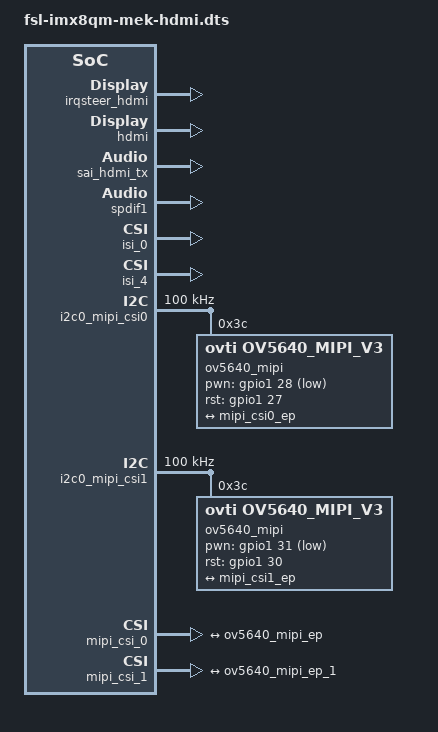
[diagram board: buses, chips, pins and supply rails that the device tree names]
/*
 * Copyright 2017-2018 NXP
 *
 * This program is free software; you can redistribute it and/or
 * modify it under the terms of the GNU General Public License
 * as published by the Free Software Foundation; either version 2
 * of the License, or (at your option) any later version.
 *
 * This program is distributed in the hope that it will be useful,
 * but WITHOUT ANY WARRANTY; without even the implied warranty of
 * MERCHANTABILITY or FITNESS FOR A PARTICULAR PURPOSE.  See the
 * GNU General Public License for more details.
 */
/*
 * HDMI only dts, disable ldb display.
 */

#include "fsl-imx8qm-mek-rpmsg.dts"

/ {
	sound-hdmi-tx {
		compatible = "fsl,imx-audio-cdnhdmi";
		model = "imx-audio-hdmi-tx";
		audio-cpu = <&sai_hdmi_tx>;
		protocol = <1>;
		hdmi-out;
	};

	sound-amix-sai {
		status = "disabled";
	};

	sound-hdmi-arc {
		compatible = "fsl,imx-audio-spdif";
		model = "imx-hdmi-arc";
		spdif-controller = <&spdif1>;
		spdif-in;
		spdif-out;
	};
};

&ldb1_phy {
	status = "disabled";
};

&ldb1 {
	status = "disabled";
};

&i2c1_lvds0 {
	status = "disabled";
};

&irqsteer_hdmi {
	status = "okay";
};

&hdmi {
	compatible = "fsl,imx8qm-hdmi";
	assigned-clocks = <&clk IMX8QM_HDMI_PXL_SEL>,
					<&clk IMX8QM_HDMI_PXL_LINK_SEL>,
					<&clk IMX8QM_HDMI_PXL_MUX_SEL>;
	assigned-clock-parents = <&clk IMX8QM_HDMI_AV_PLL_CLK>,
							<&clk IMX8QM_HDMI_AV_PLL_CLK>,
							<&clk IMX8QM_HDMI_AV_PLL_CLK>;
	fsl,cec;
	status = "okay";
};

&sai_hdmi_tx {
	assigned-clocks =<&clk IMX8QM_ACM_HDMI_TX_SAI0_MCLK_SEL>,
			<&clk IMX8QM_AUD_PLL0_DIV>,
			<&clk IMX8QM_AUD_ACM_AUD_PLL_CLK0_DIV>,
			<&clk IMX8QM_AUD_ACM_AUD_REC_CLK0_DIV>,
			<&clk IMX8QM_AUD_SAI_HDMITX0_MCLK>;
	assigned-clock-parents = <&clk IMX8QM_AUD_ACM_AUD_PLL_CLK0_CLK>;
	assigned-clock-rates = <0>, <786432000>, <49152000>, <12288000>, <49152000>;
	fsl,sai-asynchronous;
	status = "okay";
};

&spdif1 {
	assigned-clocks =<&clk IMX8QM_AUD_PLL0_DIV>,
			<&clk IMX8QM_AUD_ACM_AUD_PLL_CLK0_DIV>,
			<&clk IMX8QM_AUD_ACM_AUD_REC_CLK0_DIV>;
	assigned-clock-rates = <786432000>, <49152000>, <12288000>;
	status = "okay";
};

&iomuxc {
	imx8qm-mek {
		pinctrl_mipi_csi0: mipicsi0grp{
			fsl,pins = <
				SC_P_MIPI_CSI0_MCLK_OUT_MIPI_CSI0_ACM_MCLK_OUT	0xC0000041
				SC_P_MIPI_CSI0_GPIO0_00_LSIO_GPIO1_IO27			0x00000021
				SC_P_MIPI_CSI0_GPIO0_01_LSIO_GPIO1_IO28			0x00000021
			>;
		};

		pinctrl_mipi_csi1: mipicsi1grp{
			fsl,pins = <
				SC_P_MIPI_CSI1_MCLK_OUT_MIPI_CSI1_ACM_MCLK_OUT	0xC0000041
				SC_P_MIPI_CSI1_GPIO0_00_LSIO_GPIO1_IO30		0x00000021
				SC_P_MIPI_CSI1_GPIO0_01_LSIO_GPIO1_IO31		0x00000021
			>;
		};
	};
};

&isi_0 {
	status = "okay";
};

&isi_4 {
	status = "okay";
};

&isi_1 {
	status = "disabled";
};

&isi_2 {
	status = "disabled";
};

&isi_3 {
	status = "disabled";
};

&isi_5 {
	status = "disabled";
};

&isi_6 {
	status = "disabled";
};

&isi_7 {
	status = "disabled";
};

&i2c0_mipi_csi0 {
	clock-frequency = <100000>;
	status = "okay";

	ov5640_mipi: ov5640_mipi@3c {
		compatible = "ovti,ov5640_mipi_v3";
		reg = <0x3c>;
		pinctrl-names = "default";
		pinctrl-0 = <&pinctrl_mipi_csi0>;
		clocks = <&clk IMX8QM_24MHZ>;
		clock-names = "csi_mclk";
		csi_id = <0>;
		pwn-gpios = <&gpio1 28 GPIO_ACTIVE_LOW>;
		rst-gpios = <&gpio1 27 GPIO_ACTIVE_HIGH>;
		mclk = <24000000>;
		mclk_source = <0>;
		mipi_csi;
		status = "okay";
		port {
			ov5640_mipi_ep: endpoint {
				remote-endpoint = <&mipi_csi0_ep>;
			};
		};
	};

	/delete-node/max9286_mipi@6A;
};

&i2c0_mipi_csi1 {
	clock-frequency = <100000>;
	status = "okay";

	ov5640_mipi@3c {
		compatible = "ovti,ov5640_mipi_v3";
		reg = <0x3c>;
		pinctrl-names = "default";
		pinctrl-0 = <&pinctrl_mipi_csi1>;
		clocks = <&clk IMX8QM_24MHZ>;
		clock-names = "csi_mclk";
		csi_id = <1>;
		pwn-gpios = <&gpio1 31 GPIO_ACTIVE_LOW>;
		rst-gpios = <&gpio1 30 GPIO_ACTIVE_HIGH>;
		mclk = <24000000>;
		mclk_source = <0>;
		mipi_csi;
		status = "okay";
		port {
			ov5640_mipi_ep_1: endpoint {
				remote-endpoint = <&mipi_csi1_ep>;
			};
		};
	};

	/delete-node/max9286_mipi@6A;
};

&mipi_csi_0 {
	/delete-property/virtual-channel;
	status = "okay";

	port@0 {
		reg = <0>;
		mipi_csi0_ep: endpoint {
			remote-endpoint = <&ov5640_mipi_ep>;
			data-lanes = <1 2>;
		};
	};
};

&mipi_csi_1 {
	/delete-property/virtual-channel;
	status = "okay";

	port@1 {
		reg = <1>;
		mipi_csi1_ep: endpoint {
			remote-endpoint = <&ov5640_mipi_ep_1>;
			data-lanes = <1 2>;
		};
	};
};
